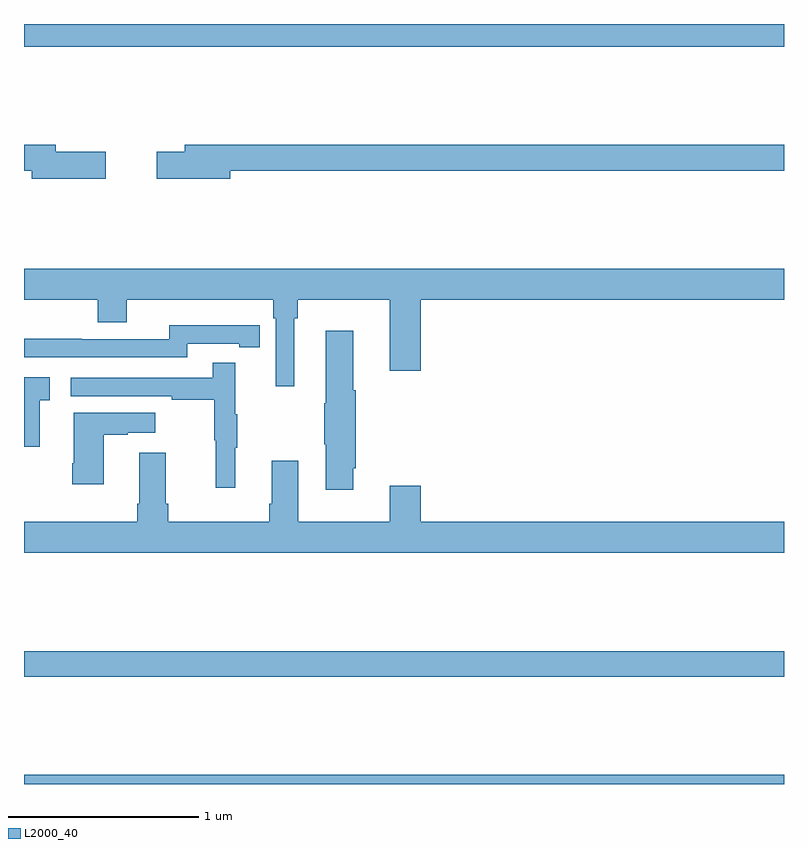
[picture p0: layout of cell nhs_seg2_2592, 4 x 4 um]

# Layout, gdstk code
import gdstk
lib = gdstk.Library(unit=1e-6, precision=1e-09)
def R(c, l, rs):  # rectangles x0, y0, x1, y1
    for r in rs: c.add(gdstk.rectangle(r[:2], r[2:], *l))
def P(c, l, *ps):  # polygons
    for p in ps: c.add(gdstk.Polygon(p, *l))
L2000_40 = (2000, 40)

nhs_seg2_2592 = lib.new_cell('nhs_seg2_2592')
R(nhs_seg2_2592, L2000_40, [(247,599.8,251,599.848), (247,600.364,251,600.5), (247,603.68,251,603.8)])
P(nhs_seg2_2592, L2000_40, [(248.086,603.028),(251,603.028),(251,603.164),(247.847,603.164),(247.847,603.128),(247.698,603.128),(247.698,602.986),(248.086,602.986)],
  [(247.429,603.128),(247.168,603.128),(247.168,603.164),(247,603.164),(247,603.028),(247.04,603.028),(247.04,602.986),(247.429,602.986)],
  [(247,602.348),(247.388,602.348),(247.388,602.231),(247.54,602.231),(247.54,602.348),(248.312,602.348),(248.312,602.252),(248.325,602.252),(248.325,601.893),(248.422,601.893),(248.422,602.252),(248.441,602.252),(248.441,602.348),(248.924,602.348),(248.924,601.974),(249.088,601.974),(249.088,602.348),(251,602.348),(251,602.512),(247,602.512)],
  [(247.86,602.118),(248.132,602.118),(248.132,602.098),(248.24,602.098),(248.24,602.214),(248.132,602.214),(248.132,602.215),(247.764,602.215),(247.764,602.142),(247.304,602.142),(247.304,602.144),(247,602.144),(247,602.046),(247.86,602.046)],
  [(248.734,601.462),(248.747,601.462),(248.747,601.872),(248.734,601.872),(248.734,602.185),(248.588,602.185),(248.588,601.805),(248.581,601.805),(248.581,601.588),(248.588,601.588),(248.588,601.35),(248.734,601.35)],
  [(248.111,601.571),(248.122,601.571),(248.122,601.745),(248.111,601.745),(248.111,602.017),(247.993,602.017),(247.993,601.938),(247.245,601.938),(247.245,601.842),(247.777,601.842),(247.777,601.822),(248.001,601.822),(248.001,601.608),(248.008,601.608),(248.008,601.359),(248.111,601.359)],
  [(247.082,601.821),(247.135,601.821),(247.135,601.942),(247,601.942),(247,601.575),(247.082,601.575)],
  [(247.42,601.639),(247.547,601.639),(247.547,601.649),(247.69,601.649),(247.69,601.753),(247.262,601.753),(247.262,601.489),(247.255,601.489),(247.255,601.377),(247.42,601.377)],
  [(251,601.18),(249.088,601.18),(249.088,601.369),(248.924,601.369),(248.924,601.18),(248.443,601.18),(248.443,601.501),(248.303,601.501),(248.303,601.276),(248.291,601.276),(248.291,601.18),(247.76,601.18),(247.76,601.276),(247.747,601.276),(247.747,601.543),(247.607,601.543),(247.607,601.276),(247.595,601.276),(247.595,601.18),(247,601.18),(247,601.016),(251,601.016)])

lib.write_gds('nhs_seg2_2592.gds')
